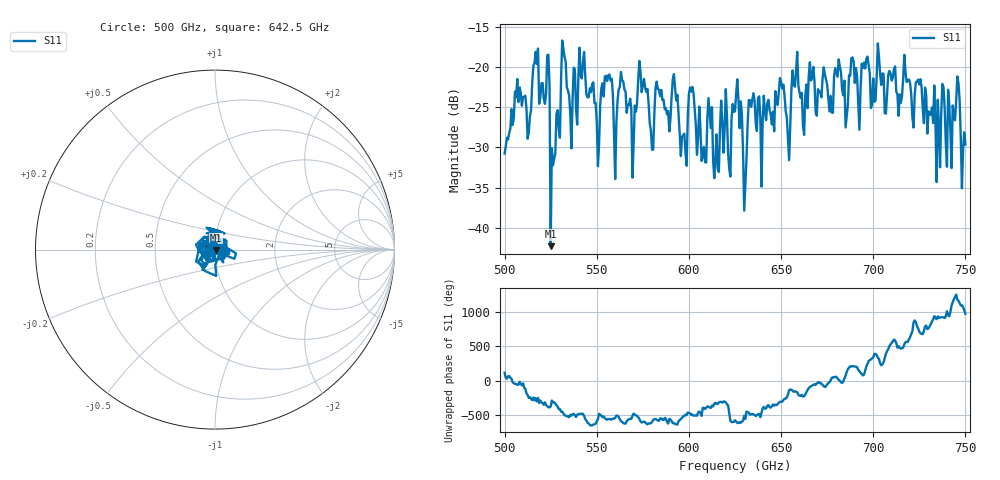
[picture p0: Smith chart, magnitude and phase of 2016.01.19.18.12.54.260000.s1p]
!Created with skrf (http://scikit-rf.org).
# GHz S RI R 50.0
!freq ReS11 ImS11
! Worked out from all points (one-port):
!   401 points, 500 GHz to 750 GHz, reference 50 ohm
!   lowest |S11| = -42.3 dB at 525 GHz (marker M1), VSWR 1.02, Z = 50.8 - j0.178 ohm
!   |S11| at or under -10 dB: start of sweep to end of sweep
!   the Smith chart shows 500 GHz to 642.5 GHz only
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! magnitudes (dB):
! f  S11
! 500 GHz  -30.8
! 506.9 GHz  -21.5
! 513.1 GHz  -28.1
! 516.9 GHz  -18.1
! 523.1 GHz  -18.5
! 525 GHz  -42.3
! 526.2 GHz  -32.2
! 531.2 GHz  -16.7
! 535.6 GHz  -25.7
! 541.9 GHz  -21.4
! 550.6 GHz  -32.3
! 562.5 GHz  -22.5
! 570 GHz  -29.5
! 573.8 GHz  -20.6
! 580 GHz  -30.3
! 593.8 GHz  -23.4
! 597.5 GHz  -28.3
! 601.2 GHz  -23.0
! 608.1 GHz  -29.9
! 611.2 GHz  -25.7
! 615 GHz  -28.4
! 625 GHz  -25.5
! 630.6 GHz  -34.5
! 633.8 GHz  -24.9
! 656.2 GHz  -20.4
! 687.5 GHz  -21.1
! 718.8 GHz  -21.7
! 750 GHz  -29.6
